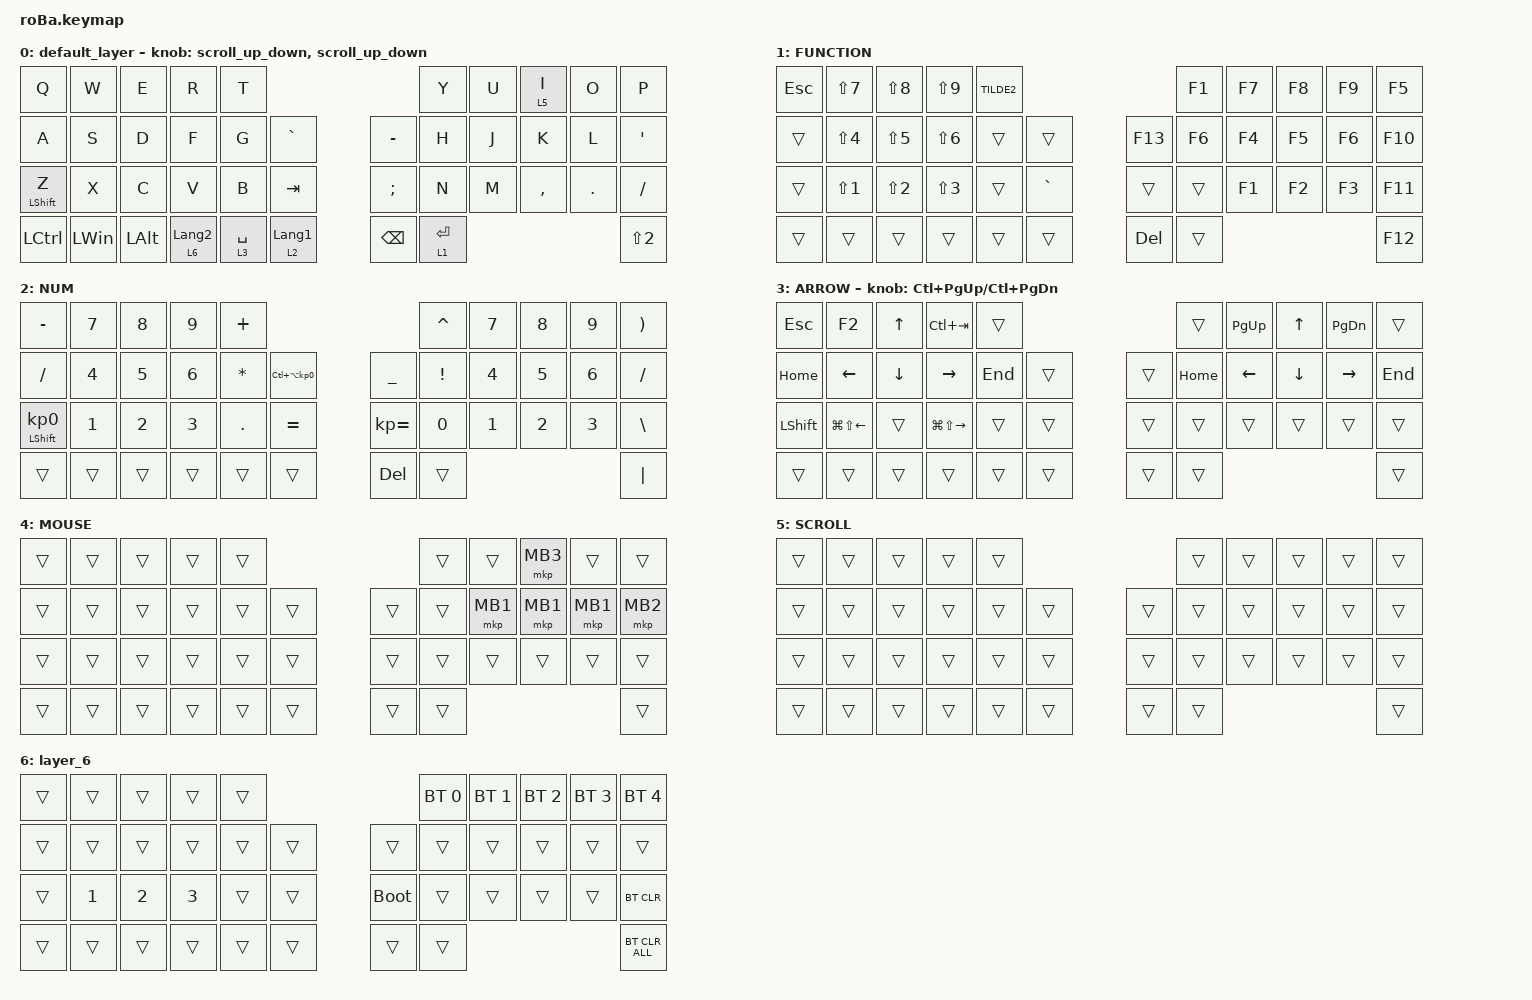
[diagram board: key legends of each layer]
#include <behaviors.dtsi>
#include <dt-bindings/zmk/bt.h>
#include <dt-bindings/zmk/keys.h>
#include <dt-bindings/zmk/pointing.h>

#define ZMK_POINTING_DEFAULT_SCRL_VAL 100
#define MOUSE 4
#define SCROLL 5
#define NUM 6

&mt {
    flavor = "balanced";
    quick-tap-ms = <0>;
};

/ {
    combos {
        compatible = "zmk,combos";

        tab {
            bindings = <&kp TAB>;
            key-positions = <11 12>;
        };

        shift_tab {
            bindings = <&kp LS(TAB)>;
            key-positions = <12 13>;
        };

        muhennkann {
            bindings = <&to_layer_0 INT_MUHENKAN>;
            key-positions = <11 10>;
        };

        double_quotation {
            bindings = <&kp DOUBLE_QUOTES>;
            key-positions = <20 21>;
        };

        eq {
            bindings = <&kp EQUAL>;
            key-positions = <24 25>;
        };
    };

    macros {
        to_layer_0: to_layer_0 {
            compatible = "zmk,behavior-macro-one-param";
            #binding-cells = <1>;
            bindings = <&to 0 &macro_param_1to1 &kp MACRO_PLACEHOLDER>;
            label = "TO_LAYER_0";
        };
    };

    behaviors {
        lt_to_layer_0: lt_to_layer_0 {
            compatible = "zmk,behavior-hold-tap";
            label = "LAYER_TAP_TO_0";
            bindings = <&mo>, <&to_layer_0>;

            #binding-cells = <2>;
            tapping-term-ms = <200>;
        };

        // 新しいスクロール動作の追加 マウススクロール

        scroll_up_down: behavior_sensor_rotate_mouse_wheel_up_down {
            compatible = "zmk,behavior-sensor-rotate";
            #sensor-binding-cells = <0>;
            bindings = <&msc SCRL_UP>, <&msc SCRL_DOWN>;

            // 追加: スクロールのタップ時間を設定 (20ms)

            tap-ms = <20>;
        };
    };

    keymap {
        compatible = "zmk,keymap";

        default_layer {
            bindings = <
&kp Q             &kp W         &kp E         &kp R                        &kp T                                                        &kp Y        &kp U  &lt 5 I    &kp O    &kp P
&kp A             &kp S         &kp D         &kp F                        &kp G        &kp GRAVE                        &kp MINUS      &kp H        &kp J  &kp K      &kp L    &kp SQT
&mt LEFT_SHIFT Z  &kp X         &kp C         &kp V                        &kp B        &kp TAB                          &kp SEMICOLON  &kp N        &kp M  &kp COMMA  &kp DOT  &kp SLASH
&kp LCTRL         &kp LEFT_WIN  &kp LEFT_ALT  &lt_to_layer_0 6 LANGUAGE_2  &lt 3 SPACE  &lt_to_layer_0 2 LANGUAGE_1      &kp BACKSPACE  &lt 1 ENTER                             &kp LS(NUMBER_2)
            >;

            sensor-bindings = <&scroll_up_down>, <&scroll_up_down>;
        };

        FUNCTION {
            bindings = <
&kp ESCAPE  &kp LS(NUMBER_7)  &kp LS(NUMBER_8)  &kp LS(NUMBER_9)  &kp TILDE2                          &kp F1  &kp F7  &kp F8  &kp F9  &kp F5
&trans      &kp LS(NUMBER_4)  &kp LS(NUMBER_5)  &kp LS(NUMBER_6)  &trans      &trans         &kp F13  &kp F6  &kp F4  &kp F5  &kp F6  &kp F10
&trans      &kp LS(NUMBER_1)  &kp LS(NUMBER_2)  &kp LS(NUMBER_3)  &trans      &kp GRAVE      &trans   &trans  &kp F1  &kp F2  &kp F3  &kp F11
&trans      &trans            &trans            &trans            &trans      &trans         &kp DEL  &trans                          &kp F12
            >;
        };

        NUM {
            bindings = <
&kp MINUS                   &kp N7        &kp NUMBER_8  &kp NUMBER_9  &kp PLUS                                                   &kp CARET        &kp NUMBER_7  &kp NUMBER_8  &kp NUMBER_9  &kp RIGHT_PARENTHESIS
&kp SLASH                   &kp NUMBER_4  &kp N5        &kp NUMBER_6  &kp ASTERISK  &kp LC(LA(KP_NUMBER_0))      &kp UNDERSCORE  &kp EXCLAMATION  &kp NUMBER_4  &kp NUMBER_5  &kp NUMBER_6  &kp SLASH
&mt LEFT_SHIFT KP_NUMBER_0  &kp NUMBER_1  &kp NUMBER_2  &kp NUMBER_3  &kp PERIOD    &kp EQUAL                    &kp KP_EQUAL    &kp NUMBER_0     &kp NUMBER_1  &kp NUMBER_2  &kp NUMBER_3  &kp BACKSLASH
&trans                      &trans        &trans        &trans        &trans        &trans                       &kp DEL         &trans                                                     &kp PIPE
            >;
        };

        ARROW {
            bindings = <
&kp ESCAPE      &kp F2                  &kp UP_ARROW    &kp LC(TAB)              &trans                       &trans    &kp PAGE_UP  &kp UP_ARROW    &kp PAGE_DOWN  &trans
&kp HOME        &kp LEFT_ARROW          &kp DOWN_ARROW  &kp RIGHT_ARROW          &kp END  &trans      &trans  &kp HOME  &kp LEFT     &kp DOWN_ARROW  &kp RIGHT      &kp END
&kp LEFT_SHIFT  &kp LG(LS(LEFT_ARROW))  &trans          &kp LG(LS(RIGHT_ARROW))  &trans   &trans      &trans  &trans    &trans       &trans          &trans         &trans
&trans          &trans                  &trans          &trans                   &trans   &trans      &trans  &trans                                                &trans
            >;

            sensor-bindings = <&inc_dec_kp LC(PAGE_UP) LC(PAGE_DOWN)>;
        };

        MOUSE {
            bindings = <
&trans  &trans  &trans  &trans  &trans                      &trans  &trans    &mkp MB3  &trans    &trans
&trans  &trans  &trans  &trans  &trans  &trans      &trans  &trans  &mkp MB1  &mkp MB1  &mkp MB1  &mkp MB2
&trans  &trans  &trans  &trans  &trans  &trans      &trans  &trans  &trans    &trans    &trans    &trans
&trans  &trans  &trans  &trans  &trans  &trans      &trans  &trans                                &trans
            >;
        };

        SCROLL {
            bindings = <
&trans  &trans  &trans  &trans  &trans                      &trans  &trans  &trans  &trans  &trans
&trans  &trans  &trans  &trans  &trans  &trans      &trans  &trans  &trans  &trans  &trans  &trans
&trans  &trans  &trans  &trans  &trans  &trans      &trans  &trans  &trans  &trans  &trans  &trans
&trans  &trans  &trans  &trans  &trans  &trans      &trans  &trans                          &trans
            >;
        };

        layer_6 {
            bindings = <
&trans  &trans        &trans        &trans        &trans                           &bt BT_SEL 0  &bt BT_SEL 1  &bt BT_SEL 2  &bt BT_SEL 3  &bt BT_SEL 4
&trans  &trans        &trans        &trans        &trans  &trans      &trans       &trans        &trans        &trans        &trans        &trans
&trans  &kp NUMBER_1  &kp NUMBER_2  &kp NUMBER_3  &trans  &trans      &bootloader  &trans        &trans        &trans        &trans        &bt BT_CLR
&trans  &trans        &trans        &trans        &trans  &trans      &trans       &trans                                                  &bt BT_CLR_ALL
            >;
        };
    };
};
